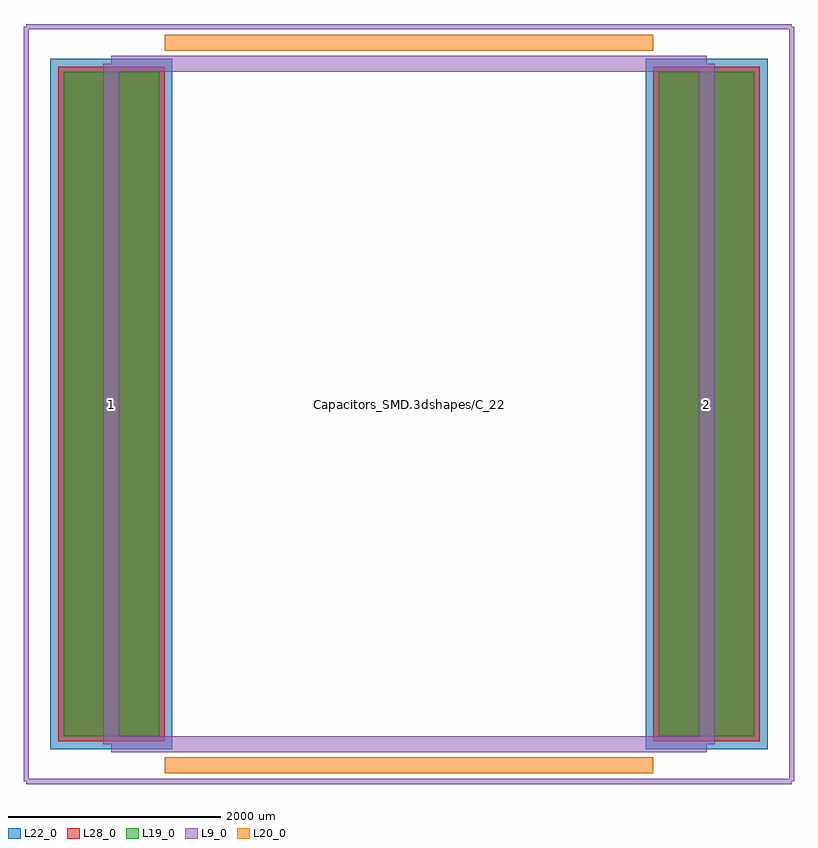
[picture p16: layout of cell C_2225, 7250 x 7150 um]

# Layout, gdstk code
import gdstk
lib = gdstk.Library(unit=1e-6, precision=1e-09)
def R(c, l, rs):  # rectangles x0, y0, x1, y1
    for r in rs: c.add(gdstk.rectangle(r[:2], r[2:], *l))
L9_0 = (9, 0)
L19_0 = (19, 0)
L20_0 = (20, 0)
L22_0 = (22, 0)
L28_0 = (28, 0)

c_2225 = lib.new_cell('C_2225')
R(c_2225, L19_0, [(-3250,-3125,-2350,3125), (2350,-3125,3250,3125)])
R(c_2225, L22_0, [(-3375,-3250,-2225,3250), (2225,-3250,3375,3250)])
R(c_2225, L28_0, [(-3300,-3175,-2300,3175), (2300,-3175,3300,3175)])
c_2225.add(gdstk.FlexPath([(-2300,-3400),(2300,-3400)], 149.998, ends="flush", simple_path=True, layer=20, datatype=0))  # L20_0
c_2225.add(gdstk.FlexPath([(2300,3400),(-2300,3400)], 149.998, ends="flush", simple_path=True, layer=20, datatype=0))  # L20_0
c_2225.add(gdstk.FlexPath([(3600,3550),(3600,-3550)], 50, ends="flush", simple_path=True, layer=9, datatype=0))  # L9_0
c_2225.add(gdstk.FlexPath([(-3600,3550),(-3600,-3550)], 50, ends="flush", simple_path=True, layer=9, datatype=0))  # L9_0
c_2225.add(gdstk.FlexPath([(-3600,-3550),(3600,-3550)], 50, ends="flush", simple_path=True, layer=9, datatype=0))  # L9_0
c_2225.add(gdstk.FlexPath([(-3600,3550),(3600,3550)], 50, ends="flush", simple_path=True, layer=9, datatype=0))  # L9_0
c_2225.add(gdstk.FlexPath([(-2800,3200),(2800,3200)], 149.998, ends="flush", simple_path=True, layer=9, datatype=0))  # L9_0
c_2225.add(gdstk.FlexPath([(2800,3200),(2800,-3200)], 149.998, ends="flush", simple_path=True, layer=9, datatype=0))  # L9_0
c_2225.add(gdstk.FlexPath([(2800,-3200),(-2800,-3200)], 149.998, ends="flush", simple_path=True, layer=9, datatype=0))  # L9_0
c_2225.add(gdstk.FlexPath([(-2800,-3200),(-2800,3200)], 149.998, ends="flush", simple_path=True, layer=9, datatype=0))  # L9_0
c_2225.add(gdstk.Label('Capacitors_SMD.3dshapes/C_2225.wrl', (0,0), layer=12, texttype=0))
c_2225.add(gdstk.Label('2', (2800,0), layer=28, texttype=0))
c_2225.add(gdstk.Label('1', (-2800,0), layer=28, texttype=0))
c_2225.add(gdstk.Label('type', (0,-4700), layer=9, texttype=0))
c_2225.add(gdstk.Label('devicename', (0,4700), layer=9, texttype=0))

lib.write_gds('C_2225.gds')
